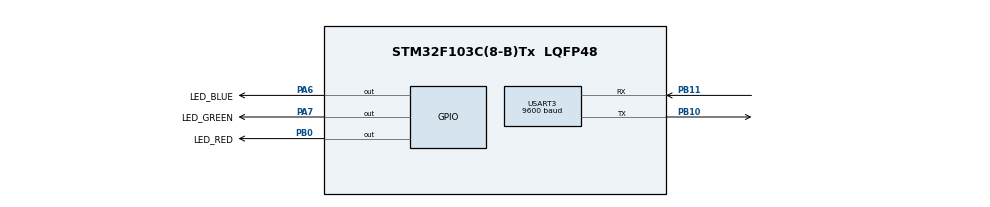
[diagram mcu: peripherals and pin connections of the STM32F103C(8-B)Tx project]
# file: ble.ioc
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Dma.Request0=USART3_TX
Dma.Request1=USART3_RX
Dma.USART3_RX.1.Direction=DMA_PERIPH_TO_MEMORY
Dma.USART3_RX.1.Instance=DMA1_Channel3
Dma.USART3_RX.1.MemDataAlignment=DMA_MDATAALIGN_BYTE
Dma.USART3_RX.1.MemInc=DMA_MINC_ENABLE
Dma.USART3_RX.1.Mode=DMA_NORMAL
Dma.USART3_RX.1.PeriphDataAlignment=DMA_PDATAALIGN_BYTE
Dma.USART3_RX.1.PeriphInc=DMA_PINC_DISABLE
Dma.USART3_RX.1.Priority=DMA_PRIORITY_LOW
Dma.USART3_TX.0.Direction=DMA_MEMORY_TO_PERIPH
Dma.USART3_TX.0.Instance=DMA1_Channel2
Dma.USART3_TX.0.MemDataAlignment=DMA_MDATAALIGN_BYTE
Dma.USART3_TX.0.MemInc=DMA_MINC_ENABLE
Dma.USART3_TX.0.Mode=DMA_NORMAL
Dma.USART3_TX.0.PeriphDataAlignment=DMA_PDATAALIGN_BYTE
Dma.USART3_TX.0.PeriphInc=DMA_PINC_DISABLE
Dma.USART3_TX.0.Priority=DMA_PRIORITY_LOW
Mcu.Family=STM32F1
Mcu.Name=STM32F103C(8-B)Tx
Mcu.Package=LQFP48
NVIC.DMA1_Channel2_IRQn=true\:0\:0\:false\:false\:true\:false\:true\:true
NVIC.DMA1_Channel3_IRQn=true\:0\:0\:false\:false\:true\:false\:true\:true
NVIC.PriorityGroup=NVIC_PRIORITYGROUP_4
NVIC.USART3_IRQn=true\:0\:0\:false\:false\:true\:true\:true\:true
PA6.GPIO_Label=LED_BLUE
PA6.Signal=GPIO_Output
PA7.GPIO_Label=LED_GREEN
PA7.Signal=GPIO_Output
PB0.GPIO_Label=LED_RED
PB0.Signal=GPIO_Output
PB10.Mode=Asynchronous
PB10.Signal=USART3_TX
PB11.Mode=Asynchronous
PB11.Signal=USART3_RX
ProjectManager.HeapSize=0x200
ProjectManager.StackSize=0x400
ProjectManager.TargetToolchain=CMake
RCC.APB1Freq_Value=8000000
RCC.APB2Freq_Value=8000000
USART3.BaudRate=9600
USART3.VirtualMode=VM_ASYNC
VP_SYS_VS_ND.Mode=No_Debug
board=custom

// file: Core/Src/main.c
/* USER CODE BEGIN Header */
/**
  ******************************************************************************
  * @file           : main.c
  * @brief          : Main program body
  ******************************************************************************
  * @attention
  *
  * Copyright (c) 2026 STMicroelectronics.
  * All rights reserved.
  *
  * This software is licensed under terms that can be found in the LICENSE file
  * in the root directory of this software component.
  * If no LICENSE file comes with this software, it is provided AS-IS.
  *
  ******************************************************************************
  */
/* USER CODE END Header */
#include "main.h"

UART_HandleTypeDef huart3;
DMA_HandleTypeDef hdma_usart3_tx;
DMA_HandleTypeDef hdma_usart3_rx;

/* USER CODE BEGIN PV */
uint8_t receiveData[50];
/* USER CODE END PV */

void SystemClock_Config(void);
static void MX_GPIO_Init(void);
static void MX_DMA_Init(void);
static void MX_USART3_UART_Init(void);

/* USER CODE BEGIN 0 */
void HAL_UARTEx_RxEventCallback(UART_HandleTypeDef *huart, uint16_t Size)
{
  if (huart == &huart3)
    {
        HAL_UART_RxEventTypeTypeDef eventType = HAL_UARTEx_GetRxEventType(huart);

        if (eventType == HAL_UART_RXEVENT_TC || eventType == HAL_UART_RXEVENT_IDLE)
        {
            HAL_UART_Transmit_DMA(&huart3, receiveData, Size);

            if (receiveData[0] == 0xAA){
              if (receiveData[1] == Size){
                uint8_t sum = 0;
                for (int i = 0; i < Size - 1; i++){
                  sum += receiveData[i];
                }

                if (sum == receiveData[Size - 1]){
                  for (int i = 2; i< Size - 1; i+=2){
                    GPIO_PinState state = GPIO_PIN_SET;
                    if (receiveData[i+1]==0x00){
                      state = GPIO_PIN_RESET;
                    }
                    if (receiveData[i] == 0x01){
                      HAL_GPIO_WritePin(LED_RED_GPIO_Port, LED_RED_Pin, state);
                    }else if(receiveData[i] == 0x02){
                      HAL_GPIO_WritePin(LED_GREEN_GPIO_Port, LED_GREEN_Pin, state);
                    }else if(receiveData[i] == 0x03){
                      HAL_GPIO_WritePin(LED_BLUE_GPIO_Port, LED_BLUE_Pin, state);
                    }
                  }
                }
              }
            }
            HAL_UARTEx_ReceiveToIdle_DMA(&huart3, receiveData, sizeof(receiveData));
        }
    }
}
/* USER CODE END 0 */

int main(void)
{

  /* MCU Configuration--------------------------------------------------------*/

  /* Reset of all peripherals, Initializes the Flash interface and the Systick. */
  HAL_Init();

  /* Configure the system clock */
  SystemClock_Config();

  /* Initialize all configured peripherals */
  MX_GPIO_Init();
  MX_DMA_Init();
  MX_USART3_UART_Init();
  /* USER CODE BEGIN 2 */
HAL_UARTEx_ReceiveToIdle_DMA(&huart3, receiveData, sizeof(receiveData));
__HAL_DMA_DISABLE_IT(&hdma_usart3_rx, DMA_IT_HT);
  /* USER CODE END 2 */

  /* Infinite loop */
  while (1)
  {

  }
}

void SystemClock_Config(void)
{
  RCC_OscInitTypeDef RCC_OscInitStruct = {0};
  RCC_ClkInitTypeDef RCC_ClkInitStruct = {0};

  /** Initializes the RCC Oscillators according to the specified parameters
  * in the RCC_OscInitTypeDef structure.
  */
  RCC_OscInitStruct.OscillatorType = RCC_OSCILLATORTYPE_HSI;
  RCC_OscInitStruct.HSIState = RCC_HSI_ON;
  RCC_OscInitStruct.HSICalibrationValue = RCC_HSICALIBRATION_DEFAULT;
  RCC_OscInitStruct.PLL.PLLState = RCC_PLL_NONE;
  if (HAL_RCC_OscConfig(&RCC_OscInitStruct) != HAL_OK)
  {
    Error_Handler();
  }

  /** Initializes the CPU, AHB and APB buses clocks
  */
  RCC_ClkInitStruct.ClockType = RCC_CLOCKTYPE_HCLK|RCC_CLOCKTYPE_SYSCLK
                              |RCC_CLOCKTYPE_PCLK1|RCC_CLOCKTYPE_PCLK2;
  RCC_ClkInitStruct.SYSCLKSource = RCC_SYSCLKSOURCE_HSI;
  RCC_ClkInitStruct.AHBCLKDivider = RCC_SYSCLK_DIV1;
  RCC_ClkInitStruct.APB1CLKDivider = RCC_HCLK_DIV1;
  RCC_ClkInitStruct.APB2CLKDivider = RCC_HCLK_DIV1;

  if (HAL_RCC_ClockConfig(&RCC_ClkInitStruct, FLASH_LATENCY_0) != HAL_OK)
  {
    Error_Handler();
  }
}

static void MX_USART3_UART_Init(void)
{

  huart3.Instance = USART3;
  huart3.Init.BaudRate = 9600;
  huart3.Init.WordLength = UART_WORDLENGTH_8B;
  huart3.Init.StopBits = UART_STOPBITS_1;
  huart3.Init.Parity = UART_PARITY_NONE;
  huart3.Init.Mode = UART_MODE_TX_RX;
  huart3.Init.HwFlowCtl = UART_HWCONTROL_NONE;
  huart3.Init.OverSampling = UART_OVERSAMPLING_16;
  if (HAL_UART_Init(&huart3) != HAL_OK)
  {
    Error_Handler();
  }

}

static void MX_DMA_Init(void)
{

  /* DMA controller clock enable */
  __HAL_RCC_DMA1_CLK_ENABLE();

  /* DMA interrupt init */
  /* DMA1_Channel2_IRQn interrupt configuration */
  HAL_NVIC_SetPriority(DMA1_Channel2_IRQn, 0, 0);
  HAL_NVIC_EnableIRQ(DMA1_Channel2_IRQn);
  /* DMA1_Channel3_IRQn interrupt configuration */
  HAL_NVIC_SetPriority(DMA1_Channel3_IRQn, 0, 0);
  HAL_NVIC_EnableIRQ(DMA1_Channel3_IRQn);

}

static void MX_GPIO_Init(void)
{
  GPIO_InitTypeDef GPIO_InitStruct = {0};

  /* GPIO Ports Clock Enable */
  __HAL_RCC_GPIOA_CLK_ENABLE();
  __HAL_RCC_GPIOB_CLK_ENABLE();

  /*Configure GPIO pin Output Level */
  HAL_GPIO_WritePin(GPIOA, LED_BLUE_Pin|LED_GREEN_Pin, GPIO_PIN_RESET);

  /*Configure GPIO pin Output Level */
  HAL_GPIO_WritePin(LED_RED_GPIO_Port, LED_RED_Pin, GPIO_PIN_RESET);

  /*Configure GPIO pins : LED_BLUE_Pin LED_GREEN_Pin */
  GPIO_InitStruct.Pin = LED_BLUE_Pin|LED_GREEN_Pin;
  GPIO_InitStruct.Mode = GPIO_MODE_OUTPUT_PP;
  GPIO_InitStruct.Pull = GPIO_NOPULL;
  GPIO_InitStruct.Speed = GPIO_SPEED_FREQ_LOW;
  HAL_GPIO_Init(GPIOA, &GPIO_InitStruct);

  /*Configure GPIO pin : LED_RED_Pin */
  GPIO_InitStruct.Pin = LED_RED_Pin;
  GPIO_InitStruct.Mode = GPIO_MODE_OUTPUT_PP;
  GPIO_InitStruct.Pull = GPIO_NOPULL;
  GPIO_InitStruct.Speed = GPIO_SPEED_FREQ_LOW;
  HAL_GPIO_Init(LED_RED_GPIO_Port, &GPIO_InitStruct);

}

void Error_Handler(void)
{
  __disable_irq();
  while (1)
  {
  }
}
